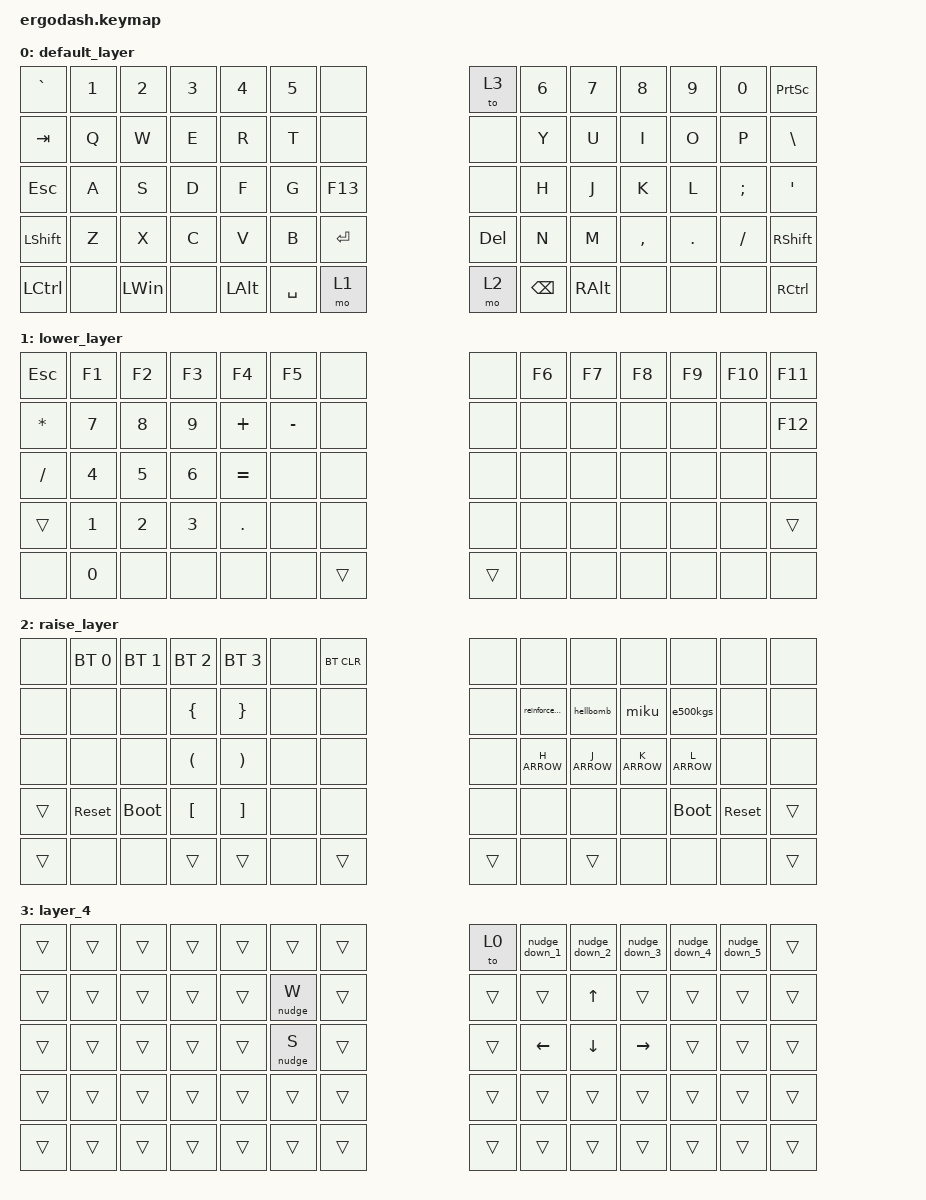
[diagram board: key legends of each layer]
/*
 * Copyright (c) 2020 The ZMK Contributors
 *
 * SPDX-License-Identifier: MIT
 */

#include <behaviors.dtsi>
#include <dt-bindings/zmk/bt.h>
#include <dt-bindings/zmk/keys.h>

#define DEFAULT 0
#define LOWER   1
#define RAISE   2

/ {
    behaviors {
        H_ARROW: H_ARROW {
            compatible = "zmk,behavior-mod-morph";
            label = "H_ARROW";
            bindings = <&kp LEFT_ARROW>, <&kp HOME>;

            #binding-cells = <0>;
            mods = <(MOD_LSFT|MOD_RSFT)>;
        };

        J_ARROW: J_ARROW {
            compatible = "zmk,behavior-mod-morph";
            label = "J_ARROW";
            bindings = <&kp DOWN_ARROW>, <&kp PAGE_DOWN>;

            #binding-cells = <0>;
            mods = <(MOD_LSFT|MOD_RSFT)>;
        };

        K_ARROW: K_ARROW {
            compatible = "zmk,behavior-mod-morph";
            label = "K_ARROW";
            bindings = <&kp UP_ARROW>, <&kp PG_UP>;

            #binding-cells = <0>;
            mods = <(MOD_LSFT|MOD_RSFT)>;
        };

        L_ARROW: L_ARROW {
            compatible = "zmk,behavior-mod-morph";
            label = "L_ARROW";
            bindings = <&kp RIGHT_ARROW>, <&kp END>;

            #binding-cells = <0>;
            mods = <(MOD_RSFT|MOD_LSFT)>;
        };

        bspc_del: bspc_del {
            compatible = "zmk,behavior-mod-morph";
            label = "BSPC_DEL";
            bindings = <&kp BACKSPACE>, <&kp DEL>;

            #binding-cells = <0>;
            mods = <(MOD_LSFT|MOD_RSFT)>;
        };

        spc_return: spc_return {
            compatible = "zmk,behavior-mod-morph";
            label = "SPC_RETURN";
            bindings = <&kp SPACE>, <&kp RET>;

            #binding-cells = <0>;
            mods = <(MOD_RSFT|MOD_LSFT)>;
        };
    };

    macros {
        reinforcement: reinforcement {
            compatible = "zmk,behavior-macro";
            #binding-cells = <0>;
            bindings = <&kp UP_ARROW &kp DOWN_ARROW &kp RIGHT_ARROW &kp LEFT_ARROW &kp UP_ARROW>;
            label = "REINFORCEMENT";
        };

        hellbomb: hellbomb {
            compatible = "zmk,behavior-macro";
            #binding-cells = <0>;
            bindings = <&kp DOWN_ARROW &kp UP_ARROW &kp LEFT_ARROW &kp DOWN_ARROW &kp UP_ARROW &kp RIGHT_ARROW &kp DOWN_ARROW &kp UP_ARROW>;
            label = "HELLBOMB";
        };

        e500kgs: miku {
            compatible = "zmk,behavior-macro";
            #binding-cells = <0>;
            bindings = <&kp UP_ARROW &kp RIGHT_ARROW &kp DOWN_ARROW &kp DOWN_ARROW &kp DOWN_ARROW>;
            label = "MIKU";
        };

        miku: e500kg {
            compatible = "zmk,behavior-macro";
            #binding-cells = <0>;
            bindings = <&kp RIGHT_ARROW &kp DOWN_ARROW &kp UP_ARROW &kp RIGHT_ARROW &kp DOWN_ARROW>;
            label = "E500KG";
        };

        // Taps a key for exactly 20 ms, for fine aiming in Worms Armageddon

        nudge: nudge {
            compatible = "zmk,behavior-macro-one-param";
            #binding-cells = <1>;
            tap-ms = <20>;
            wait-ms = <0>;
            bindings =
                <&macro_param_1to1>,
                <&macro_tap>,
                <&kp MACRO_PLACEHOLDER>;

            label = "NUDGE";
        };

        // Nudges down (S) 1-5 times in a row

#define NUDGE_DOWN(name, ...) \
        name: name { \
            compatible = "zmk,behavior-macro"; \
            #binding-cells = <0>; \
            tap-ms = <20>; \
            wait-ms = <20>; \
            bindings = <__VA_ARGS__>; \
        };

        NUDGE_DOWN(nudge_down_1, &kp S)
        NUDGE_DOWN(nudge_down_2, &kp S &kp S)
        NUDGE_DOWN(nudge_down_3, &kp S &kp S &kp S)
        NUDGE_DOWN(nudge_down_4, &kp S &kp S &kp S &kp S)
        NUDGE_DOWN(nudge_down_5, &kp S &kp S &kp S &kp S &kp S)
    };

    keymap {
        compatible = "zmk,keymap";

        default_layer {
            /* QWERTY
 * .----------------------------------------------------------------------------------------------------------------------.
 * |  `   |   1  |   2  |   3  |   4  |   5  |  [   |                    |  ]   |   6  |   7  |   8  |   9  |   0  | PScr |
 * |------+------+------+------+------+------+------+--------------------+------+------+------+------+------+------+------|
 * | ESC  |   Q  |   W  |   E  |   R  |   T  |  -   |                    |  =   |   Y  |   U  |   I  |   O  |   P  |  \   |
 * |------+------+------+------+------+------+------+--------------------+------+------+------+------+------+------+------|
 * | Tab  |   A  |   S  |   D  |   F  |   G  | Del  |                    | Bksp |   H  |   J  |   K  |   L  |   ;  |  '   |
 * |------+------+------+------+------+------+---------------------------+------+------+------+------+------+------+------|
 * | Shift|   Z  |   X  |   C  |   V  |   B  | End  |                    | Home |   N  |   M  |   ,  |   .  |   /  | Shift|
 * |-------------+------+------+------+------+------+------+------+------+------+------+------+------+------+-------------|
 * | Ctrl |      | PGDN | Win  |||||||| Alt  | Space| Lower|||||||| Raise| Enter| RAlt ||||||||      | PGUP | Ins  | RCtrl|
 * .----------------------------------------------------------------------------------------------------------------------.
 */

            bindings = <
&kp GRAVE   &kp N1  &kp N2        &kp N3  &kp N4    &kp N5  &none                           &to 3          &kp N6  &kp N7    &kp N8     &kp N9   &kp N0     &kp PSCRN
&kp TAB     &kp Q   &kp W         &kp E   &kp R     &kp T   &none                           &none          &kp Y   &kp U     &kp I      &kp O    &kp P      &kp BACKSLASH
&kp ESCAPE  &kp A   &kp S         &kp D   &kp F     &kp G   &kp F13                         &none          &kp H   &kp J     &kp K      &kp L    &kp SEMI   &kp APOSTROPHE
&kp LSHFT   &kp Z   &kp X         &kp C   &kp V     &kp B              &kp RET  &kp DELETE                 &kp N   &kp M     &kp COMMA  &kp DOT  &kp SLASH  &kp RIGHT_SHIFT
&kp LCTRL   &none   &kp LEFT_WIN  &none   &kp LALT          &kp SPACE  &mo 1    &mo 2       &kp BACKSPACE          &kp RALT  &none      &none    &none      &kp RCTRL
            >;
        };

        lower_layer {
            /* .----------------------------------------------------------------------------------------------------------------------.
 * |  F11 |  F1  |  F2  |  F3  |  F4  |  F5  |      |                    |      |  F6  |  F7  |  F8  |  F9  |  F10 |  F12 |
 * |------+------+------+------+------+------+------+--------------------+------+------+------+------+------+------+------|
 * |      |      |      |      |      |      |      |                    |      |      |      |      |      |      |      |
 * |------+------+------+------+------+------+------+--------------------+------+------+------+------+------+------+------|
 * |      |      |      |      |      |      |      |                    |      |      |      |      |      |      |      |
 * |------+------+------+------+------+------+---------------------------+------+------+------+------+------+------+------|
 * | Shift| Boot | Reset|      |      |      |      |                    |      |      |      |      |      |      | Shift|
 * |-------------+------+------+------+------+------+------+------+------+------+------+------+------+------+-------------|
 * | Ctlr |      |      |  Win |||||||| Alt  |      | Lower|||||||| Raise|      | RAlt ||||||||      |      |      | RCtrl|
 * .----------------------------------------------------------------------------------------------------------------------.
 */ /* FIXME boot and reset are not yet locale aware */
            bindings = <
&kp ESC       &kp F1        &kp F2        &kp F3        &kp F4     &kp F5     &none                  &none  &kp F6  &kp F7  &kp F8  &kp F9  &kp F10  &kp F11
&kp ASTERISK  &kp NUMBER_7  &kp NUMBER_8  &kp NUMBER_9  &kp PLUS   &kp MINUS  &none                  &none  &none   &none   &none   &none   &none    &kp F12
&kp SLASH     &kp NUMBER_4  &kp NUMBER_5  &kp NUMBER_6  &kp EQUAL  &none      &none                  &none  &none   &none   &none   &none   &none    &none
&trans        &kp NUMBER_1  &kp NUMBER_2  &kp NUMBER_3  &kp DOT    &none             &none   &none          &none   &none   &none   &none   &none    &trans
&none         &kp N0        &none         &none         &none                 &none  &trans  &trans  &none          &none   &none   &none   &none    &none
            >;
        };

        raise_layer {
            /* .----------------------------------------------------------------------------------------------------------------------.
 * |      | BT 0 | BT 1 | BT 2 | BT 3 |      | BTCL |                    |      |      |      |      |      |      |      |
 * |------+------+------+------+------+------+------+--------------------+------+------+------+------+------+------+------|
 * |      |      |      |      |      |      |      |                    |      |      |      |      |      |      |      |
 * |------+------+------+------+------+------+------+--------------------+------+------+------+------+------+------+------|
 * |      |      |      |      |      |      |      |                    |      |      |      |      |      |      |      |
 * |------+------+------+------+------+------+---------------------------+------+------+------+------+------+------+------|
 * | Shift|      |      |      |      |      |      |                    |      |      |      |      | Boot | Reset| Shift|
 * |-------------+------+------+------+------+------+------+------+------+------+------+------+------+------+-------------|
 * | Ctlr |      |      |  Win |||||||| Alt  |      | Lower|||||||| Raise|      | RAlt ||||||||      |      |      | RCtrl|
 * .----------------------------------------------------------------------------------------------------------------------.
 */ /* FIXME boot and reset are not yet locale aware */
            bindings = <
&none   &bt BT_SEL 0  &bt BT_SEL 1  &bt BT_SEL 2          &bt BT_SEL 3           &none  &bt BT_CLR                  &none  &none           &none      &none     &none        &none       &none
&none   &none         &none         &kp LEFT_BRACE        &kp RIGHT_BRACE        &none  &none                       &none  &reinforcement  &hellbomb  &miku     &e500kgs     &none       &none
&none   &none         &none         &kp LEFT_PARENTHESIS  &kp RIGHT_PARENTHESIS  &none  &none                       &none  &H_ARROW        &J_ARROW   &K_ARROW  &L_ARROW     &none       &none
&trans  &sys_reset    &bootloader   &kp LEFT_BRACKET      &kp RIGHT_BRACKET      &none              &none   &none          &none           &none      &none     &bootloader  &sys_reset  &trans
&trans  &none         &none         &trans                &trans                        &none       &trans  &trans  &none                  &trans     &none     &none        &none       &trans
            >;
        };

        layer_4 {
            bindings = <
&trans  &trans  &trans  &trans  &trans  &trans    &trans                  &to 0   &nudge_down_1  &nudge_down_2  &nudge_down_3  &nudge_down_4  &nudge_down_5  &trans
&trans  &trans  &trans  &trans  &trans  &nudge W  &trans                  &trans  &trans    &kp UP    &trans     &trans  &trans  &trans
&trans  &trans  &trans  &trans  &trans  &nudge S  &trans                  &trans  &kp LEFT  &kp DOWN  &kp RIGHT  &trans  &trans  &trans
&trans  &trans  &trans  &trans  &trans  &trans            &trans  &trans          &trans    &trans    &trans     &trans  &trans  &trans
&trans  &trans  &trans  &trans  &trans            &trans  &trans  &trans  &trans            &trans    &trans     &trans  &trans  &trans
            >;
        };
    };
};
